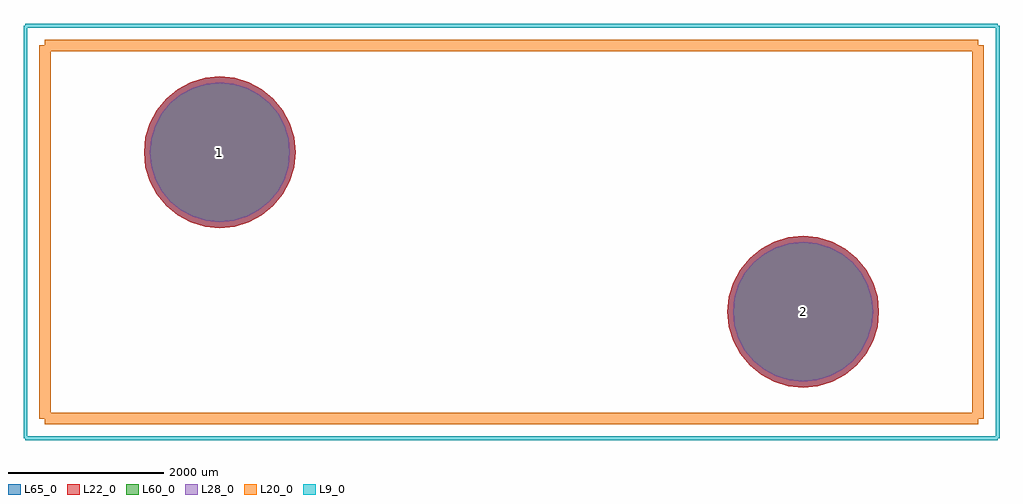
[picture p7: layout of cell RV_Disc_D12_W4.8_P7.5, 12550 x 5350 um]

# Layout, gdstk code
import gdstk
lib = gdstk.Library(unit=1e-6, precision=1e-09)
def P(c, l, *ps):  # polygons
    for p in ps: c.add(gdstk.Polygon(p, *l))
L9_0 = (9, 0)
L20_0 = (20, 0)
L22_0 = (22, 0)
L28_0 = (28, 0)
L60_0 = (60, 0)
L65_0 = (65, 0)

rv_disc_d12_w4_8_p7_5 = lib.new_cell('RV_Disc_D12_W4.8_P7.5')
P(rv_disc_d12_w4_8_p7_5, L22_0, [(8475,-2050),(8456.266,-1859.787),(8400.783,-1676.884),(8310.683,-1508.319),(8189.429,-1360.571),(8041.681,-1239.317),(7873.116,-1149.217),(7690.213,-1093.734),(7500,-1075),(7309.787,-1093.734),(7126.884,-1149.217),(6958.319,-1239.317),(6810.571,-1360.571),(6689.317,-1508.319),(6599.217,-1676.884),(6543.734,-1859.787),(6525,-2050),(6543.734,-2240.213),(6599.217,-2423.116),(6689.317,-2591.681),(6810.571,-2739.429),(6958.319,-2860.683),(7126.884,-2950.783),(7309.787,-3006.266),(7500,-3025),(7690.213,-3006.266),(7873.116,-2950.783),(8041.681,-2860.683),(8189.429,-2739.429),(8310.683,-2591.681),(8400.783,-2423.116),(8456.266,-2240.213)],
  [(975,0),(956.266,190.213),(900.783,373.116),(810.683,541.681),(689.429,689.429),(541.681,810.683),(373.116,900.783),(190.213,956.266),(0,975),(-190.213,956.266),(-373.116,900.783),(-541.681,810.683),(-689.429,689.429),(-810.683,541.681),(-900.783,373.116),(-956.266,190.213),(-975,0),(-956.266,-190.213),(-900.783,-373.116),(-810.683,-541.681),(-689.429,-689.429),(-541.681,-810.683),(-373.116,-900.783),(-190.213,-956.266),(0,-975),(190.213,-956.266),(373.116,-900.783),(541.681,-810.683),(689.429,-689.429),(810.683,-541.681),(900.783,-373.116),(956.266,-190.213)])
P(rv_disc_d12_w4_8_p7_5, L28_0, [(8400,-2050),(8382.707,-1874.419),(8331.492,-1705.585),(8248.323,-1549.987),(8136.396,-1413.604),(8000.013,-1301.677),(7844.415,-1218.508),(7675.581,-1167.293),(7500,-1150),(7324.419,-1167.293),(7155.585,-1218.508),(6999.987,-1301.677),(6863.604,-1413.604),(6751.677,-1549.987),(6668.508,-1705.585),(6617.293,-1874.419),(6600,-2050),(6617.293,-2225.581),(6668.508,-2394.415),(6751.677,-2550.013),(6863.604,-2686.396),(6999.987,-2798.323),(7155.585,-2881.492),(7324.419,-2932.707),(7500,-2950),(7675.581,-2932.707),(7844.415,-2881.492),(8000.013,-2798.323),(8136.396,-2686.396),(8248.323,-2550.013),(8331.492,-2394.415),(8382.707,-2225.581)],
  [(900,0),(882.707,175.581),(831.492,344.415),(748.323,500.013),(636.396,636.396),(500.013,748.323),(344.415,831.492),(175.581,882.707),(0,900),(-175.581,882.707),(-344.415,831.492),(-500.013,748.323),(-636.396,636.396),(-748.323,500.013),(-831.492,344.415),(-882.707,175.581),(-900,0),(-882.707,-175.581),(-831.492,-344.415),(-748.323,-500.013),(-636.396,-636.396),(-500.013,-748.323),(-344.415,-831.492),(-175.581,-882.707),(0,-900),(175.581,-882.707),(344.415,-831.492),(500.013,-748.323),(636.396,-636.396),(748.323,-500.013),(831.492,-344.415),(882.707,-175.581)])
P(rv_disc_d12_w4_8_p7_5, L60_0, [(8400,-2050),(8382.707,-1874.419),(8331.492,-1705.585),(8248.323,-1549.987),(8136.396,-1413.604),(8000.013,-1301.677),(7844.415,-1218.508),(7675.581,-1167.293),(7500,-1150),(7324.419,-1167.293),(7155.585,-1218.508),(6999.987,-1301.677),(6863.604,-1413.604),(6751.677,-1549.987),(6668.508,-1705.585),(6617.293,-1874.419),(6600,-2050),(6617.293,-2225.581),(6668.508,-2394.415),(6751.677,-2550.013),(6863.604,-2686.396),(6999.987,-2798.323),(7155.585,-2881.492),(7324.419,-2932.707),(7500,-2950),(7675.581,-2932.707),(7844.415,-2881.492),(8000.013,-2798.323),(8136.396,-2686.396),(8248.323,-2550.013),(8331.492,-2394.415),(8382.707,-2225.581)],
  [(900,0),(882.707,175.581),(831.492,344.415),(748.323,500.013),(636.396,636.396),(500.013,748.323),(344.415,831.492),(175.581,882.707),(0,900),(-175.581,882.707),(-344.415,831.492),(-500.013,748.323),(-636.396,636.396),(-748.323,500.013),(-831.492,344.415),(-882.707,175.581),(-900,0),(-882.707,-175.581),(-831.492,-344.415),(-748.323,-500.013),(-636.396,-636.396),(-500.013,-748.323),(-344.415,-831.492),(-175.581,-882.707),(0,-900),(175.581,-882.707),(344.415,-831.492),(500.013,-748.323),(636.396,-636.396),(748.323,-500.013),(831.492,-344.415),(882.707,-175.581)])
P(rv_disc_d12_w4_8_p7_5, L65_0, [(8475,-2050),(8456.266,-1859.787),(8400.783,-1676.884),(8310.683,-1508.319),(8189.429,-1360.571),(8041.681,-1239.317),(7873.116,-1149.217),(7690.213,-1093.734),(7500,-1075),(7309.787,-1093.734),(7126.884,-1149.217),(6958.319,-1239.317),(6810.571,-1360.571),(6689.317,-1508.319),(6599.217,-1676.884),(6543.734,-1859.787),(6525,-2050),(6543.734,-2240.213),(6599.217,-2423.116),(6689.317,-2591.681),(6810.571,-2739.429),(6958.319,-2860.683),(7126.884,-2950.783),(7309.787,-3006.266),(7500,-3025),(7690.213,-3006.266),(7873.116,-2950.783),(8041.681,-2860.683),(8189.429,-2739.429),(8310.683,-2591.681),(8400.783,-2423.116),(8456.266,-2240.213)],
  [(975,0),(956.266,190.213),(900.783,373.116),(810.683,541.681),(689.429,689.429),(541.681,810.683),(373.116,900.783),(190.213,956.266),(0,975),(-190.213,956.266),(-373.116,900.783),(-541.681,810.683),(-689.429,689.429),(-810.683,541.681),(-900.783,373.116),(-956.266,190.213),(-975,0),(-956.266,-190.213),(-900.783,-373.116),(-810.683,-541.681),(-689.429,-689.429),(-541.681,-810.683),(-373.116,-900.783),(-190.213,-956.266),(0,-975),(190.213,-956.266),(373.116,-900.783),(541.681,-810.683),(689.429,-689.429),(810.683,-541.681),(900.783,-373.116),(956.266,-190.213)])
rv_disc_d12_w4_8_p7_5.add(gdstk.FlexPath([(-2250,1375),(-2250,-3425)], 149.998, ends="flush", simple_path=True, layer=20, datatype=0))  # L20_0
rv_disc_d12_w4_8_p7_5.add(gdstk.FlexPath([(9750,1375),(9750,-3425)], 149.998, ends="flush", simple_path=True, layer=20, datatype=0))  # L20_0
rv_disc_d12_w4_8_p7_5.add(gdstk.FlexPath([(-2250,1375),(9750,1375)], 149.998, ends="flush", simple_path=True, layer=20, datatype=0))  # L20_0
rv_disc_d12_w4_8_p7_5.add(gdstk.FlexPath([(-2250,-3425),(9750,-3425)], 149.998, ends="flush", simple_path=True, layer=20, datatype=0))  # L20_0
rv_disc_d12_w4_8_p7_5.add(gdstk.FlexPath([(-2500,1625),(-2500,-3675)], 50, ends="flush", simple_path=True, layer=9, datatype=0))  # L9_0
rv_disc_d12_w4_8_p7_5.add(gdstk.FlexPath([(10000,1625),(10000,-3675)], 50, ends="flush", simple_path=True, layer=9, datatype=0))  # L9_0
rv_disc_d12_w4_8_p7_5.add(gdstk.FlexPath([(-2500,1625),(10000,1625)], 50, ends="flush", simple_path=True, layer=9, datatype=0))  # L9_0
rv_disc_d12_w4_8_p7_5.add(gdstk.FlexPath([(-2500,-3675),(10000,-3675)], 50, ends="flush", simple_path=True, layer=9, datatype=0))  # L9_0
rv_disc_d12_w4_8_p7_5.add(gdstk.Label('2', (7500,-2050), layer=28, texttype=0))
rv_disc_d12_w4_8_p7_5.add(gdstk.Label('1', (0,0), layer=28, texttype=0))
rv_disc_d12_w4_8_p7_5.add(gdstk.Label('type', (3750,2375), layer=9, texttype=0))
rv_disc_d12_w4_8_p7_5.add(gdstk.Label('devicename', (3750,-4425), layer=9, texttype=0))

lib.write_gds('RV_Disc_D12_W4.8_P7.5.gds')
